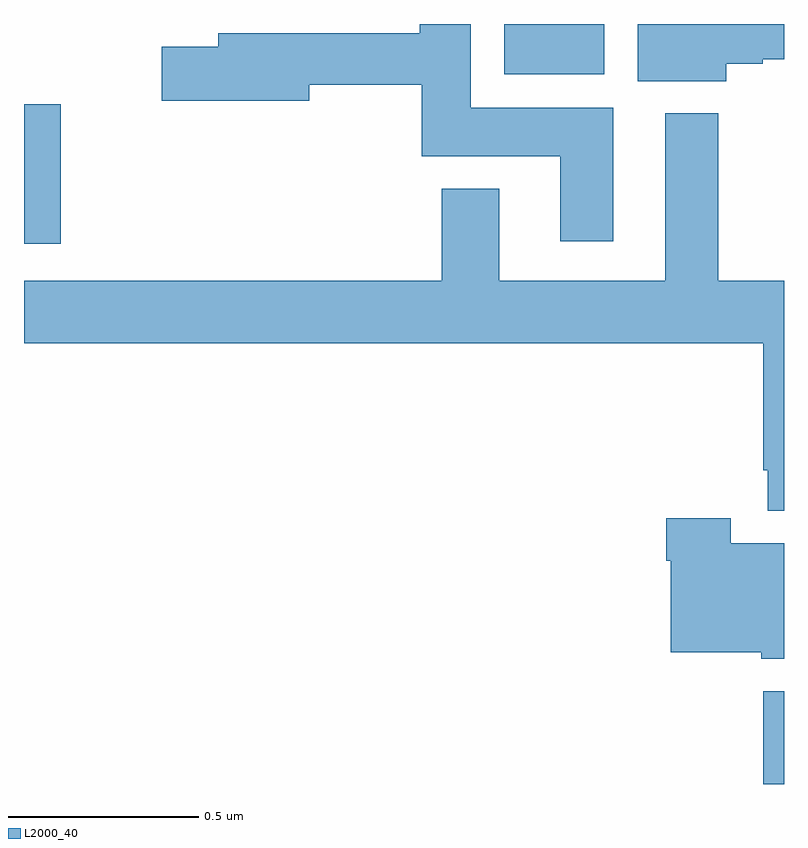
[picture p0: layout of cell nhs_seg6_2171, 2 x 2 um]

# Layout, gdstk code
import gdstk
lib = gdstk.Library(unit=1e-6, precision=1e-09)
def R(c, l, rs):  # rectangles x0, y0, x1, y1
    for r in rs: c.add(gdstk.rectangle(r[:2], r[2:], *l))
def P(c, l, *ps):  # polygons
    for p in ps: c.add(gdstk.Polygon(p, *l))
L2000_40 = (2000, 40)

nhs_seg6_2171 = lib.new_cell('nhs_seg6_2171')
R(nhs_seg6_2171, L2000_40, [(140.945,955.5,141,955.744), (139,956.922,139.097,957.289), (140.264,957.368,140.527,957.5)])
P(nhs_seg6_2171, L2000_40, [(140.848,957.395),(140.944,957.395),(140.944,957.407),(141,957.407),(141,957.5),(140.615,957.5),(140.615,957.35),(140.848,957.35)],
  [(140.551,957.28),(140.176,957.28),(140.176,957.5),(140.042,957.5),(140.042,957.476),(139.511,957.476),(139.511,957.44),(139.362,957.44),(139.362,957.298),(139.75,957.298),(139.75,957.34),(140.047,957.34),(140.047,957.152),(140.411,957.152),(140.411,956.928),(140.551,956.928)],
  [(141,956.824),(140.827,956.824),(140.827,957.265),(140.687,957.265),(140.687,956.824),(140.251,956.824),(140.251,957.067),(140.099,957.067),(140.099,956.824),(139,956.824),(139,956.66),(140.945,956.66),(140.945,956.326),(140.957,956.326),(140.957,956.219),(141,956.219)],
  [(141,956.134),(140.86,956.134),(140.86,956.2),(140.69,956.2),(140.69,956.087),(140.702,956.087),(140.702,955.847),(140.94,955.847),(140.94,955.829),(141,955.829)])

lib.write_gds('nhs_seg6_2171.gds')
